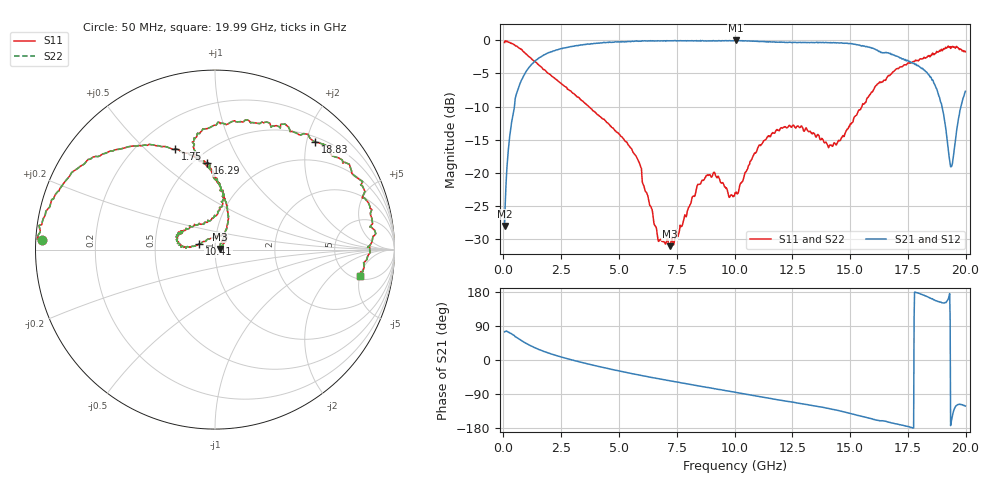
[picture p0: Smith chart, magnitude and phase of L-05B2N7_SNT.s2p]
! Data Taken on a HP 8720C VNA using a shunt-through fixture with TRL* de-embedding
#	mhz	s	ma	r	50
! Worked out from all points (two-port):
!   998 points, 50 MHz to 19.99 GHz, reference 50 ohm
!   highest |S21| = -0.02 dB at 10.05 GHz (marker M1); lowest = -28.0 dB at 50 MHz (marker M2)
!   |S21| within 3 dB of the highest: 1.4 GHz to 17.42 GHz (16.02 GHz wide, 170 % of centre); 17.46507 GHz to 17.48447 GHz (19.4 MHz wide, 0.111 % of centre)
!   lowest |S11| = -31.1 dB at 7.19 GHz (marker M3), VSWR 1.06, Z = 52.8 + j0.368 ohm
!   |S11| at or under -10 dB: 3.686 GHz to 15.51 GHz (11.83 GHz wide, 123 % of centre)
!   |S22| runs from -31.1 to -0.1 dB; largest |S21 - S12| = 0
!   S11 on the Smith chart (normalised r, x): 50 MHz: 0.02, +0.03; 1.75 GHz: 0.35, +0.62; 10.41 GHz: 0.84, +0.05; 16.29 GHz: 0.58, +0.73; 18.83 GHz: 0.60, +2.17; 19.99 GHz: 5.60, -4.96
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50  0.9632 176.7  0.03966 74.2  0.03966 74.2  0.9632 176.7
250  0.9653 168.3  0.1727 72.8  0.1727 72.8  0.9653 168.3
570  0.906 151.7  0.3976 59.5  0.3976 59.5  0.906 151.7
1090  0.7562 131.3  0.6197 40.4  0.6197 40.4  0.7562 131.3
1750  0.6037 111.4  0.778 22.6  0.778 22.6  0.6037 111.4
3390  0.3505 84.7  0.9244 -6.5  0.9244 -6.5  0.3505 84.7
5770  0.1301 61.2  0.9879 -38.5  0.9879 -38.5  0.1301 61.2
6710  0.03027 29.1  0.9915 -49.3  0.9915 -49.3  0.03027 29.1
7190  0.02784 7.2  0.9924 -54.7  0.9924 -54.7  0.02784 7.2
8810  0.09547 48.7  0.9891 -72.3  0.9891 -72.3  0.09547 48.7
10030  0.07057 123.9  0.9936 -85.1  0.9936 -85.1  0.07057 123.9
10050  0.07062 128.7  0.9982 -85.1  0.9982 -85.1  0.07062 128.7
10410  0.09348 160.8  0.9899 -89.3  0.9899 -89.3  0.09348 160.8
11830  0.212 170.4  0.9684 -104.7  0.9684 -104.7  0.212 170.4
13350  0.1986 146.4  0.9625 -120.1  0.9625 -120.1  0.1986 146.4
14430  0.1655 98.3  0.9591 -132.4  0.9591 -132.4  0.1655 98.3
16290  0.4859 95.1  0.8225 -160.6  0.8225 -160.6  0.4859 95.1
16670  0.5433 102.1  0.8028 -164.1  0.8028 -164.1  0.5433 102.1
17830  0.7098 88.7  0.6565 179.2  0.6565 179.2  0.7098 88.7
18830  0.8192 46.9  0.3854 154.1  0.3854 154.1  0.8192 46.9
19370  0.8813 19.0  0.1108 -165.7  0.1108 -165.7  0.8813 19.0
19990  0.8194 -10.2  0.4121 -121.5  0.4121 -121.5  0.8194 -10.2
